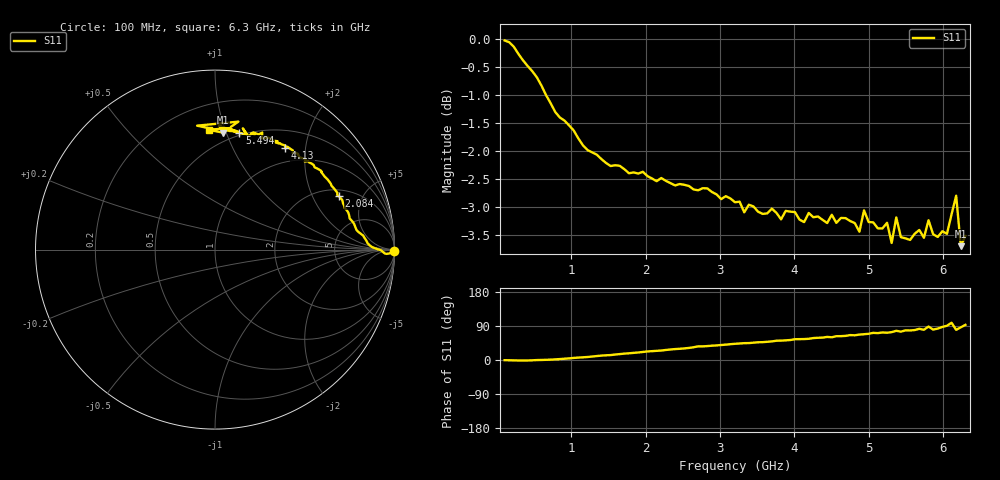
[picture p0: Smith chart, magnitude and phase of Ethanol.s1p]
! Created with skrf 2.1.0 (http://scikit-rf.org).
# Hz S RI R 50.0
!freq ReS11 ImS11
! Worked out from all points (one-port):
!   101 points, 100 MHz to 6.3 GHz, reference 50 ohm
!   lowest |S11| = -3.7 dB at 6.238 GHz (marker M1), VSWR 4.77, Z = 21.3 + j48.6 ohm
!   |S11| at or under -10 dB: nowhere
!   S11 on the Smith chart (normalised r, x): 100 MHz: open; 2.084 GHz: 2.36, +3.22; 4.13 GHz: 0.77, +1.64; 5.494 GHz: 0.48, +1.11; 6.3 GHz: 0.37, +0.88
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1e8  0.9965 -0.00832
4.1e8  0.9453 -0.021
9.06e8  0.8439 0.0489
1.65e9  0.7421 0.2074
2.084e9  0.6893 0.2974
2.456e9  0.6456 0.3663
2.704e9  0.5924 0.4314
3.2e9  0.5249 0.4856
4.006e9  0.4032 0.5732
4.13e9  0.3913 0.5641
4.502e9  0.3487 0.6035
4.75e9  0.2829 0.6272
4.874e9  0.2616 0.6203
4.936e9  0.2634 0.6521
5.308e9  0.1861 0.6309
5.37e9  0.1548 0.6756
5.432e9  0.1747 0.6424
5.494e9  0.1359 0.6499
5.556e9  0.138 0.6473
5.68e9  0.0905 0.6695
5.742e9  0.1186 0.6541
5.804e9  0.0217 0.6888
5.866e9  0.1137 0.6599
6.052e9  -0.00481 0.6702
6.114e9  -0.0998 0.6905
6.176e9  0.1305 0.7129
6.238e9  0.0426 0.6521
6.3e9  -0.0313 0.6665
